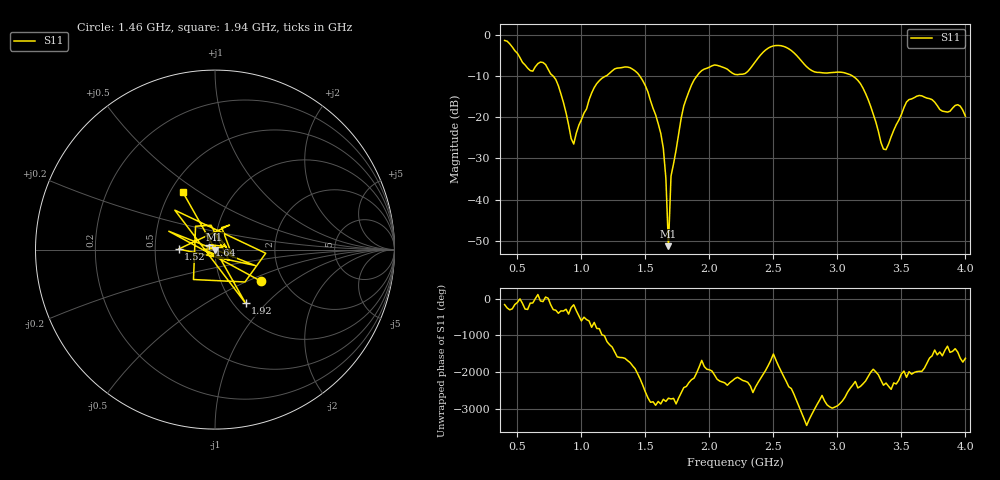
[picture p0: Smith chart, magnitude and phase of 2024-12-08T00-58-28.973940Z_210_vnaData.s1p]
!Created with skrf (http://scikit-rf.org).
# Hz S RI R 50.0
!freq ReS11 ImS11
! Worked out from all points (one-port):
!   181 points, 400 MHz to 4 GHz, reference 50 ohm
!   lowest |S11| = -51.3 dB at 1.68 GHz (marker M1), VSWR 1.01, Z = 49.7 + j0.0434 ohm
!   |S11| at or under -10 dB: 779.5 MHz to 1.19 GHz (410.2 MHz wide, 41.7 % of centre); 1.456 GHz to 1.902 GHz (445.3 MHz wide, 26.5 % of centre); 3.12 GHz to end of sweep
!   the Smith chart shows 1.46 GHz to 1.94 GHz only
!   S11 on the Smith chart (normalised r, x): 1.46 GHz: 1.55, -0.60; 1.52 GHz: 0.66, +0.00; 1.64 GHz: 0.94, +0.05; 1.92 GHz: 1.13, -0.77; 1.94 GHz: 0.58, +0.43
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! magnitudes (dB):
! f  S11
! 400 MHz  -1.3
! 600 MHz  -8.7
! 720 MHz  -7.2
! 860 MHz  -16.5
! 940 MHz  -26.5
! 1.1 GHz  -12.8
! 1.3 GHz  -8.0
! 1.46 GHz  -10.1
! 1.52 GHz  -13.9
! 1.64 GHz  -27.5
! 1.66 GHz  -34.8
! 1.68 GHz  -51.3
! 1.7 GHz  -34.3
! 1.76 GHz  -24.0
! 1.8 GHz  -17.2
! 1.92 GHz  -9.3
! 1.94 GHz  -8.7
! 2.2 GHz  -9.6
! 2.48 GHz  -2.9
! 2.66 GHz  -4.3
! 2.82 GHz  -9.0
! 3.1 GHz  -9.7
! 3.22 GHz  -14.2
! 3.36 GHz  -27.7
! 3.56 GHz  -15.7
! 3.86 GHz  -18.7
! 3.94 GHz  -16.9
! 4 GHz  -19.7
